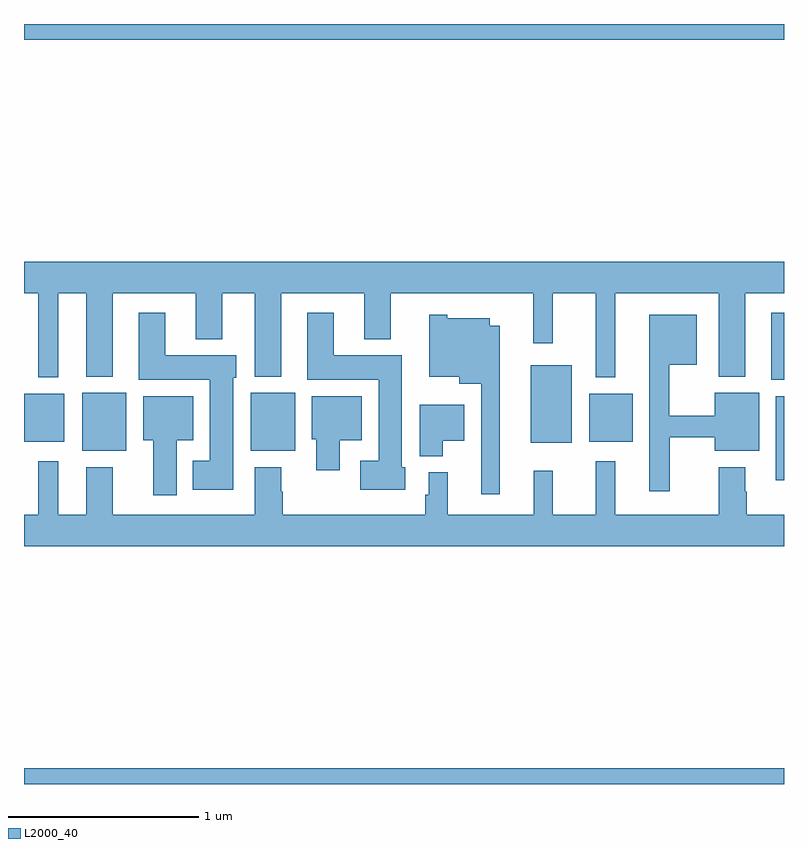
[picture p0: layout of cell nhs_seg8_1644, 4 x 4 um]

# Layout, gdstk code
import gdstk
lib = gdstk.Library(unit=1e-6, precision=1e-09)
def R(c, l, rs):  # rectangles x0, y0, x1, y1
    for r in rs: c.add(gdstk.rectangle(r[:2], r[2:], *l))
def P(c, l, *ps):  # polygons
    for p in ps: c.add(gdstk.Polygon(p, *l))
L2000_40 = (2000, 40)

nhs_seg8_1644 = lib.new_cell('nhs_seg8_1644')
R(nhs_seg8_1644, L2000_40, [(215,1129.9,219,1129.984), (218.957,1131.498,219,1131.94), (215.306,1131.653,215.539,1131.958), (216.194,1131.653,216.427,1131.958), (217.667,1131.695,217.882,1132.105), (215,1131.701,215.212,1131.955), (217.976,1131.701,218.203,1131.955), (218.933,1132.028,219,1132.381), (215,1133.816,219,1133.9)])
P(nhs_seg8_1644, L2000_40, [(215.179,1132.484),(215.327,1132.484),(215.327,1132.043),(215.467,1132.043),(215.467,1132.484),(215.903,1132.484),(215.903,1132.241),(216.043,1132.241),(216.043,1132.484),(216.215,1132.484),(216.215,1132.043),(216.355,1132.043),(216.355,1132.484),(216.791,1132.484),(216.791,1132.241),(216.931,1132.241),(216.931,1132.484),(217.681,1132.484),(217.681,1132.221),(217.782,1132.221),(217.782,1132.484),(218.009,1132.484),(218.009,1132.04),(218.113,1132.04),(218.113,1132.484),(218.657,1132.484),(218.657,1132.043),(218.797,1132.043),(218.797,1132.484),(219,1132.484),(219,1132.648),(215,1132.648),(215,1132.484),(215.075,1132.484),(215.075,1132.04),(215.179,1132.04)],
  [(217.006,1131.567),(216.988,1131.567),(216.988,1132.156),(216.631,1132.156),(216.631,1132.381),(216.491,1132.381),(216.491,1132.028),(216.866,1132.028),(216.866,1131.601),(216.771,1131.601),(216.771,1131.449),(217.006,1131.449)],
  [(216.1,1132.038),(216.118,1132.038),(216.118,1132.156),(215.743,1132.156),(215.743,1132.381),(215.603,1132.381),(215.603,1132.028),(215.978,1132.028),(215.978,1131.601),(215.888,1131.601),(215.888,1131.449),(216.1,1131.449)],
  [(218.398,1131.726),(218.636,1131.726),(218.636,1131.653),(218.869,1131.653),(218.869,1131.958),(218.636,1131.958),(218.636,1131.839),(218.395,1131.839),(218.395,1132.106),(218.542,1132.106),(218.542,1132.369),(218.291,1132.369),(218.291,1131.441),(218.398,1131.441)],
  [(217.504,1132.312),(217.45,1132.312),(217.45,1132.351),(217.227,1132.351),(217.227,1132.369),(217.133,1132.369),(217.133,1132.043),(217.292,1132.043),(217.292,1132.007),(217.407,1132.007),(217.407,1131.426),(217.504,1131.426)],
  [(215.803,1131.71),(215.89,1131.71),(215.89,1131.94),(215.627,1131.94),(215.627,1131.71),(215.681,1131.71),(215.681,1131.42),(215.803,1131.42)],
  [(216.661,1131.71),(216.778,1131.71),(216.778,1131.94),(216.515,1131.94),(216.515,1131.714),(216.539,1131.714),(216.539,1131.552),(216.661,1131.552)],
  [(217.204,1131.707),(217.318,1131.707),(217.318,1131.895),(217.082,1131.895),(217.082,1131.626),(217.204,1131.626)],
  [(219,1131.316),(218.805,1131.316),(218.805,1131.437),(218.797,1131.437),(218.797,1131.568),(218.657,1131.568),(218.657,1131.316),(218.113,1131.316),(218.113,1131.598),(218.009,1131.598),(218.009,1131.316),(217.782,1131.316),(217.782,1131.55),(217.682,1131.55),(217.682,1131.316),(217.229,1131.316),(217.229,1131.541),(217.131,1131.541),(217.131,1131.423),(217.111,1131.423),(217.111,1131.316),(216.363,1131.316),(216.363,1131.437),(216.355,1131.437),(216.355,1131.568),(216.215,1131.568),(216.215,1131.316),(215.467,1131.316),(215.467,1131.568),(215.327,1131.568),(215.327,1131.316),(215.179,1131.316),(215.179,1131.598),(215.075,1131.598),(215.075,1131.316),(215,1131.316),(215,1131.152),(219,1131.152)])

lib.write_gds('nhs_seg8_1644.gds')
